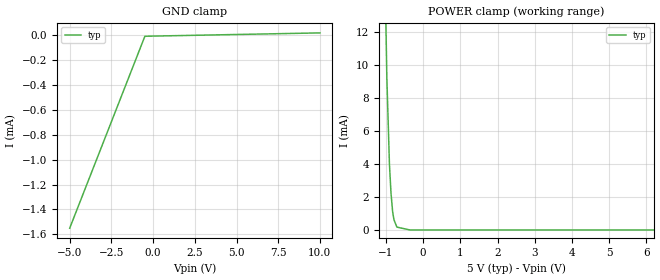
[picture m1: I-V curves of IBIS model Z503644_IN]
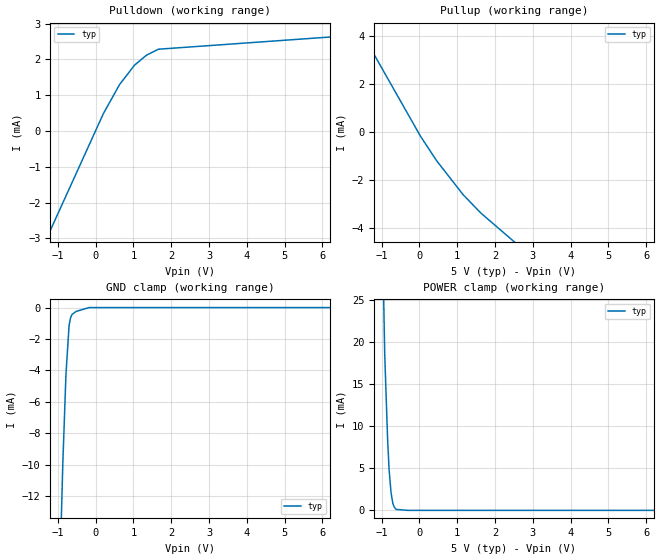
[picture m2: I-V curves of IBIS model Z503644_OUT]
| YOU ARE ONLY AUTHORIZED TO USE THIS SOFTWARE
| ACCORDING TO LICENSOR'S LICENSE RESTRICTIONS.
[IBIS Ver] 3.1
[File Name] mc14527bcl.ibs
[File Rev] 2.0
[Source] Measured and created by ICX Technology
[Date] Friday 7/14/00 9:07:56 AM
[Copyright]
| (C) COPYRIGHT 1993-2000
| MENTOR GRAPHICS CORPORATION
| ICX STANDARD LIBRARY, ICX PROJECT MODELING,
| ICX CUSTOM MODELING, ICX VENDOR MODEL
| ALL RIGHTS RESERVED.
| THE FOLLOWING ARE TRADEMARKS OR SERVICE MARKS OF
| MENTOR GRAPHICS CORPORATION:ICX (R), ICX STANDARD
| LIBRARY(R), ICX PROJECT MODELING(R), ICX CUSTOM
| MODELING(R), qualityIBIS(TM), MODELVIEWER(TM),
| AND MODELEDITOR(TM)
| ALL COPIES OF SOFTWARE, INCLUDING BUT NOT LIMITED TO
| ANY MODIFICATIONS, ENHANCEMENTS OR DERIVATIVE WORKS,
| MUST CONTAIN ALL MENTOR GRAPHICS CORPORATION'S
| NOTICES AND LEGENDS, INCLUDING THOSE EMBEDDED IN
| SOFTWARE AND THOSE AFFIXED TO SOFTWARE MEDIUM
| AND CONTAINER, AS RECEIVED FROM MENTOR GRAPHICS
| CORPORATION.
|  ZAP Model Builder 2.7
[Component] MC14527BCL
[Manufacturer] OnSemiconductor
[Package]
| variable   typ   min   max
R_pkg  .212ohms NA NA
L_pkg  4.758nH NA NA
C_pkg  1.944pF NA NA
[Pin] signal_name  model_name  R_pin  L_pin C_pin
1 9OUT Z503644_OUT .224 7.258n 2.683p
2 C Z503644_IN .216 5.258n 2.19p
3 D Z503644_IN .208 3.758n 1.697p
4 SET9 Z503644_IN .2 2.758n 1.204p
5 _OUT Z503644_OUT .2 2.758n 1.204p
6 OUT Z503644_OUT .208 3.758n 1.697p
7 EOUT Z503644_OUT .216 5.258n 2.19p
8 VSS POWER .224 7.258n 2.683p
9 CLK Z503644_IN .224 7.258n 2.683p
10 STRB Z503644_IN .216 5.258n 2.19p
11 _EIN Z503644_IN .208 3.758n 1.697p
12 CASC Z503644_IN .2 2.758n 1.204p
13 CLR Z503644_IN .2 2.758n 1.204p
14 A Z503644_IN .208 3.758n 1.697p
15 B Z503644_IN .216 5.258n 2.19p
16 VDD POWER .224 7.258n 2.683p
| Models and submodels in the file (2): Z503644_IN (Input), Z503644_OUT (Output)
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| (C) COPYRIGHT 1993-2000
| MENTOR GRAPHICS CORPORATION
| ICX STANDARD LIBRARY, ICX PROJECT MODELING,
| ICX CUSTOM MODELING, ICX VENDOR MODEL
| ALL RIGHTS RESERVED.
| THE FOLLOWING ARE TRADEMARKS OR SERVICE MARKS OF
| MENTOR GRAPHICS CORPORATION:ICX (R), ICX STANDARD
| LIBRARY(R), ICX PROJECT MODELING(R), ICX CUSTOM
| MODELING(R), qualityIBIS(TM), MODELVIEWER(TM),
| AND MODELEDITOR(TM)
| ALL COPIES OF SOFTWARE, INCLUDING BUT NOT LIMITED TO
| ANY MODIFICATIONS, ENHANCEMENTS OR DERIVATIVE WORKS,
| MUST CONTAIN ALL MENTOR GRAPHICS CORPORATION'S
| NOTICES AND LEGENDS, INCLUDING THOSE EMBEDDED IN
| SOFTWARE AND THOSE AFFIXED TO SOFTWARE MEDIUM
| AND CONTAINER, AS RECEIVED FROM MENTOR GRAPHICS
| CORPORATION.
| Model Application Version 1.89 2/18/99.
[Model] Z503644_IN
Model_type Input
Vinl = 1.500V
Vinh = 3.500V
C_comp 4.000pF NA NA
| variable typ   min   max
[Voltage Range] 5.000V NA NA
[GND Clamp Reference] 0.000V NA NA
[POWER Clamp Reference] 5.000V NA NA
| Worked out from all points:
|   POWER clamp passes 1 mA (typ) near -0.81 V on its own axis
[GND Clamp]
-5V       -1.55mA    NA         NA
-493.1mV  -11.09uA   NA         NA
10V       15.87uA    NA         NA
[POWER Clamp]
-5V       523.4mA    NA         NA
-977mV    9.262mA    NA         NA
-907mV    3.99mA     NA         NA
-865mV    2.232mA    NA         NA
-820mV    1.08mA     NA         NA
-785mV    620.7uA    NA         NA
-707mV    172.9uA    NA         NA
-353.5mV  0A         NA         NA
10V       0A         NA         NA
| (C) COPYRIGHT 1993-2000
| MENTOR GRAPHICS CORPORATION
| ICX STANDARD LIBRARY, ICX PROJECT MODELING,
| ICX CUSTOM MODELING, ICX VENDOR MODEL
| ALL RIGHTS RESERVED.
| THE FOLLOWING ARE TRADEMARKS OR SERVICE MARKS OF
| MENTOR GRAPHICS CORPORATION:ICX (R), ICX STANDARD
| LIBRARY(R), ICX PROJECT MODELING(R), ICX CUSTOM
| MODELING(R), qualityIBIS(TM), MODELVIEWER(TM),
| AND MODELEDITOR(TM)
| ALL COPIES OF SOFTWARE, INCLUDING BUT NOT LIMITED TO
| ANY MODIFICATIONS, ENHANCEMENTS OR DERIVATIVE WORKS,
| MUST CONTAIN ALL MENTOR GRAPHICS CORPORATION'S
| NOTICES AND LEGENDS, INCLUDING THOSE EMBEDDED IN
| SOFTWARE AND THOSE AFFIXED TO SOFTWARE MEDIUM
| AND CONTAINER, AS RECEIVED FROM MENTOR GRAPHICS
| CORPORATION.
| Model Application Version 1.89 2/18/99.
[Model] Z503644_OUT
Model_type Output
Vref=0.000V
Rref=500.0Mohms
Cref=50.00pF
Vmeas=2.500V
C_comp 8.000pF NA NA
| variable typ   min   max
[Voltage Range] 5.000V NA NA
[POWER Clamp Reference] 5.000V NA NA
[Pullup Reference] 5.000V NA NA
[Pulldown Reference] 0.000V NA NA
[GND Clamp Reference] 0.000V NA NA
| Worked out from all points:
|   slope of the pulldown table from 0 to 0.75 V, typ, clamps not added: 518 ohm
|   slope of the pullup table from 0 to 0.75 V, typ, clamps not added: 443 ohm
|   GND clamp passes 1 mA (typ) near -0.69 V on its own axis
|   POWER clamp passes 1 mA (typ) near -0.71 V on its own axis
[GND Clamp]
-5V       -375.6mA   NA         NA
-868.3mV  -9.923mA   NA         NA
-785.8mV  -4.285mA   NA         NA
-703mV    -1.152mA   NA         NA
-664.1mV  -655.5uA   NA         NA
-626.1mV  -440.8uA   NA         NA
-517.3mV  -246.6uA   NA         NA
-341.8mV  -119.3uA   NA         NA
-170.9mV  0A         NA         NA
10V       0A         NA         NA
[Pulldown]
-5V       -11.61mA   NA         NA
205.1mV   486.8uA    NA         NA
634.8mV   1.3mA      NA         NA
1.028V    1.839mA    NA         NA
1.342V    2.115mA    NA         NA
1.66V     2.285mA    NA         NA
10V       2.91mA     NA         NA
[Pullup]
-5V       13.77mA    NA         NA
24mV      -158.4uA   NA         NA
454mV     -1.188mA   NA         NA
1.157V    -2.606mA   NA         NA
1.627V    -3.372mA   NA         NA
10V       -14.71mA   NA         NA
[POWER Clamp]
-5V       998.7mA    NA         NA
-917mV    18.58mA    NA         NA
-840mV    8.393mA    NA         NA
-801mV    4.814mA    NA         NA
-750mV    2.099mA    NA         NA
-703mV    839.6uA    NA         NA
-668mV    408.6uA    NA         NA
-615mV    111.6uA    NA         NA
-307.5mV  0A         NA         NA
10V       0A         NA         NA
[Ramp]
| variable typ min max
dV/dt_r 2.573/13.33n NA NA
dV/dt_f 2.573/15.55n NA NA
R_load = 2.500kOhms
